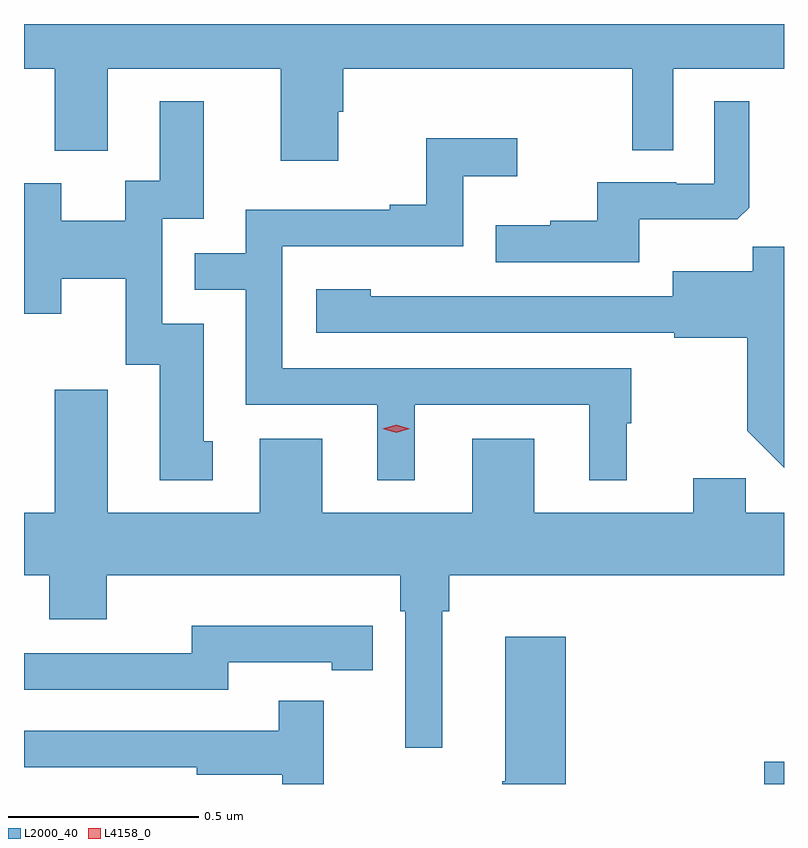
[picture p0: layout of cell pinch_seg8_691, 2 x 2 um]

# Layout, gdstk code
import gdstk
lib = gdstk.Library(unit=1e-6, precision=1e-09)
def R(c, l, rs):  # rectangles x0, y0, x1, y1
    for r in rs: c.add(gdstk.rectangle(r[:2], r[2:], *l))
def P(c, l, *ps):  # polygons
    for p in ps: c.add(gdstk.Polygon(p, *l))
L2000_40 = (2000, 40)
L4158_0 = (4158, 0)

pinch_seg8_691 = lib.new_cell('pinch_seg8_691')
R(pinch_seg8_691, L2000_40, [(313.206,1107.958,313.258,1108.016)])
P(pinch_seg8_691, L2000_40, [(312.085,1109.727),(312.098,1109.727),(312.098,1109.84),(312.858,1109.84),(312.858,1109.626),(312.966,1109.626),(312.966,1109.84),(313.258,1109.84),(313.258,1109.958),(311.258,1109.958),(311.258,1109.84),(311.339,1109.84),(311.339,1109.624),(311.479,1109.624),(311.479,1109.84),(311.933,1109.84),(311.933,1109.598),(312.085,1109.598)],
  [(312.877,1109.444),(313.135,1109.444),(313.167,1109.475),(313.167,1109.755),(313.074,1109.755),(313.074,1109.538),(312.974,1109.538),(312.974,1109.541),(312.767,1109.541),(312.767,1109.44),(312.643,1109.44),(312.643,1109.428),(312.499,1109.428),(312.499,1109.331),(312.877,1109.331)],
  [(311.755,1108.86),(311.731,1108.86),(311.731,1109.169),(311.622,1109.169),(311.622,1109.445),(311.731,1109.445),(311.731,1109.755),(311.615,1109.755),(311.615,1109.546),(311.525,1109.546),(311.525,1109.44),(311.356,1109.44),(311.356,1109.539),(311.258,1109.539),(311.258,1109.195),(311.356,1109.195),(311.356,1109.288),(311.526,1109.288),(311.526,1109.061),(311.615,1109.061),(311.615,1108.758),(311.755,1108.758)],
  [(312.286,1108.956),(312.746,1108.956),(312.746,1108.757),(312.844,1108.757),(312.844,1108.908),(312.856,1108.908),(312.856,1109.052),(311.937,1109.052),(311.937,1109.373),(312.414,1109.373),(312.414,1109.558),(312.556,1109.558),(312.556,1109.657),(312.316,1109.657),(312.316,1109.482),(312.221,1109.482),(312.221,1109.469),(311.841,1109.469),(311.841,1109.355),(311.707,1109.355),(311.707,1109.259),(311.841,1109.259),(311.841,1108.956),(312.188,1108.956),(312.188,1108.757),(312.286,1108.757)],
  [(313.258,1109.372),(313.176,1109.372),(313.176,1109.308),(312.965,1109.308),(312.965,1109.241),(312.407,1109.241),(312.407,1109.242),(312.171,1109.242),(312.171,1109.26),(312.027,1109.26),(312.027,1109.145),(312.969,1109.145),(312.969,1109.133),(313.161,1109.133),(313.161,1108.887),(313.258,1108.79)],
  [(312.358,1108.412),(312.377,1108.412),(312.377,1108.508),(313.258,1108.508),(313.258,1108.672),(313.157,1108.672),(313.157,1108.763),(313.019,1108.763),(313.019,1108.672),(312.601,1108.672),(312.601,1108.867),(312.437,1108.867),(312.437,1108.672),(312.043,1108.672),(312.043,1108.867),(311.879,1108.867),(311.879,1108.672),(311.479,1108.672),(311.479,1108.996),(311.339,1108.996),(311.339,1108.672),(311.258,1108.672),(311.258,1108.508),(311.324,1108.508),(311.324,1108.391),(311.476,1108.391),(311.476,1108.508),(312.248,1108.508),(312.248,1108.412),(312.261,1108.412),(312.261,1108.053),(312.358,1108.053)],
  [(311.796,1108.278),(312.068,1108.278),(312.068,1108.258),(312.176,1108.258),(312.176,1108.374),(312.068,1108.374),(312.068,1108.375),(311.7,1108.375),(311.7,1108.302),(311.258,1108.302),(311.258,1108.206),(311.796,1108.206)],
  [(312.683,1108.345),(312.524,1108.345),(312.524,1107.965),(312.517,1107.965),(312.517,1107.958),(312.683,1107.958)],
  [(312.047,1108.177),(311.929,1108.177),(311.929,1108.098),(311.258,1108.098),(311.258,1108.002),(311.713,1108.002),(311.713,1107.982),(311.937,1107.982),(311.937,1107.958),(312.047,1107.958)])
P(pinch_seg8_691, L4158_0, [(312.237,1108.883),(312.201,1108.893),(312.201,1108.893),(312.201,1108.893),(312.237,1108.903),(312.273,1108.893),(312.273,1108.893),(312.273,1108.893)])

lib.write_gds('pinch_seg8_691.gds')
